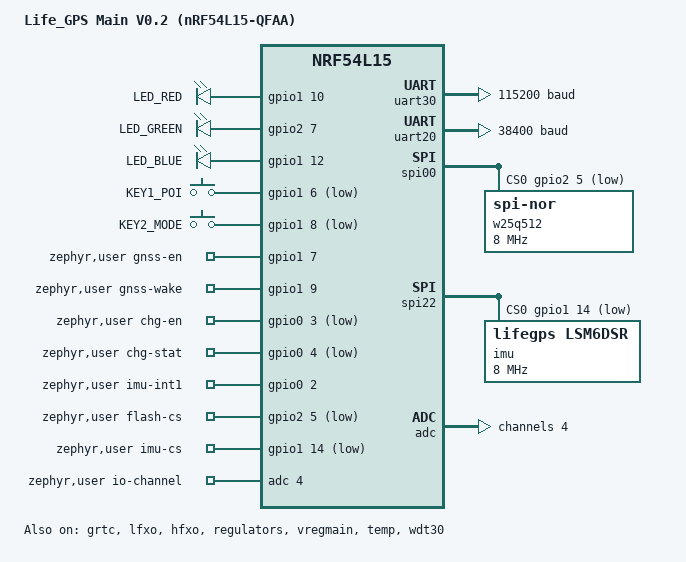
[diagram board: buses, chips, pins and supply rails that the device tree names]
/*
 * Copyright (c) 2026 Life_GPS contributors
 * SPDX-License-Identifier: MIT
 *
 * Life_GPS Main_V0.2 board (nRF54L15-QFAA, QFN48).
 * Pin/level facts: Doc/Hardware/Pinmap_Main_V0.2.md (SSOT) + netlist
 * Hardware/Schematic/Netlist_Main_V0.2_2026-11-11.tel.
 */

/dts-v1/;

#include <arm/nordic/nrf54l15_cpuapp.dtsi>
#include <zephyr/dt-bindings/adc/adc.h>
#include <zephyr/dt-bindings/adc/nrf-saadc.h>
#include <zephyr/dt-bindings/input/input-event-codes.h>

#include "lifegps-pinctrl.dtsi"

/ {
	model = "Life_GPS Main V0.2 (nRF54L15-QFAA)";
	compatible = "lifegps,lifegps-nrf54l15-cpuapp";

	chosen {
		zephyr,console = &uart30;
		zephyr,shell-uart = &uart30;
		zephyr,flash-controller = &rram_controller;
		zephyr,flash = &cpuapp_rram;
		zephyr,sram = &cpuapp_sram;
	};

	leds {
		compatible = "gpio-leds";

		led_red: led_red {
			gpios = <&gpio1 10 GPIO_ACTIVE_HIGH>;
			label = "LED_RED";
		};

		led_green: led_green {
			gpios = <&gpio2 7 GPIO_ACTIVE_HIGH>;
			label = "LED_GREEN";
		};

		led_blue: led_blue {
			gpios = <&gpio1 12 GPIO_ACTIVE_HIGH>;
			label = "LED_BLUE";
		};
	};

	keys: keys {
		compatible = "gpio-keys";
		/*
		 * No debounce property here on purpose: gpio-keys only honours
		 * debounce-interval-ms when CONFIG_INPUT is enabled, and this firmware has no
		 * input subsystem (the keys are polled by src/power/keys.c). A property that
		 * silently does nothing is worse than none - src/power/keys.c debounces in
		 * software for LGPS_KEY_DEBOUNCE_MS.
		 */

		key_poi: key_poi {
			gpios = <&gpio1 6 (GPIO_ACTIVE_LOW | GPIO_PULL_UP)>;
			label = "KEY1_POI";
			zephyr,code = <INPUT_KEY_1>;
		};

		key_mode: key_mode {
			gpios = <&gpio1 8 (GPIO_ACTIVE_LOW | GPIO_PULL_UP)>;
			label = "KEY2_MODE";
			zephyr,code = <INPUT_KEY_2>;
		};
	};

	/*
	 * Application GPIOs that are not part of a Zephyr subsystem class. The
	 * polarity notes follow pinmap section 3:
	 *   GPS_EN     high = GNSS rail on (SGM2045-1.8 enable)
	 *   CHG_EN     low  = charging allowed (SGM4056 EN is active low)
	 *   CHG_STAT   low  = charging in progress (open drain, needs pull-up)
	 */
	zephyr,user {
		gnss-en-gpios = <&gpio1 7 GPIO_ACTIVE_HIGH>;
		gnss-wake-gpios = <&gpio1 9 GPIO_ACTIVE_HIGH>;
		chg-en-gpios = <&gpio0 3 GPIO_ACTIVE_LOW>;
		chg-stat-gpios = <&gpio0 4 (GPIO_ACTIVE_LOW | GPIO_PULL_UP)>;
		/*
		 * Declared for M2 motion wake (pinmap section 2: P0.02 = LSM6_SPI_INT, GPIOTE30).
		 * M1 polls the data-ready bit over SPI and never configures this pad, so it
		 * stays in its reset state (input, disconnected buffer). LSM6DSR INT1 is
		 * push-pull, so an unconfigured pad neither floats nor draws current.
		 */
		imu-int1-gpios = <&gpio0 2 GPIO_ACTIVE_HIGH>;
		/*
		 * The two chip selects are also owned by the SPI controllers; they are
		 * listed here because firmware must drive them high before the SPI
		 * driver initialises (no external pull-up on either memory).
		 */
		flash-cs-gpios = <&gpio2 5 GPIO_ACTIVE_LOW>;
		imu-cs-gpios = <&gpio1 14 GPIO_ACTIVE_LOW>;
		/* P1.11 = AIN4 through the 1 M / 330 k divider (pinmap section 3). */
		io-channels = <&adc 4>;
	};
};

&uicr {
	/* P1.02 / P1.03 carry SPIM22; they leave reset as NFC antenna pads. */
	nfct-pins-as-gpios;
};

/*
 * GRTC is the system timer on nRF54L (CONFIG_NRF_GRTC_TIMER depends on it) and it
 * also supplies CONFIG_SYS_CLOCK_HW_CYCLES_PER_SEC through its clock-frequency
 * property (binding default 1 MHz). Channel map copied from the in-tree
 * nrf54l15dk board: 7..11 are reserved for zero-latency IRQs, 3..4 for the FLPR.
 */
&grtc {
	owned-channels = <0 1 2 3 4 5 6 7 8 9 10 11>;
	child-owned-channels = <3 4 7 8 9 10 11>;
	status = "okay";
};

&lfxo {
	status = "okay";
	load-capacitors = "internal";
	/*
	 * X1 is a 32.768 kHz FC-135R with CL = 12.5 pF. The nRF54L15 internal trim
	 * tops out at 18000 fF (datasheet CL_LFXO range 6..9 pF), so this is the
	 * closest achievable setting - see pinmap pending item "crystal CL".
	 */
	load-capacitance-femtofarad = <18000>;
};

&hfxo {
	status = "okay";
	load-capacitors = "internal";
	/*
	 * X2 is a 32 MHz crystal with CL = 12 pF; the HFXO trim tops out at
	 * 17000 fF. Logged as a known deviation during bring-up.
	 */
	load-capacitance-femtofarad = <17000>;
};

&regulators {
	status = "okay";
};

&vregmain {
	status = "okay";
	/* DCC pin drives L1 = 4.7 uH (pinmap section 2, pin 46): DC/DC must be used. */
	regulator-initial-mode = <NRF5X_REG_MODE_DCDC>;
};

&clock {
	status = "okay";
};

&temp {
	status = "okay";
};

&gpio0 {
	status = "okay";
};

&gpio1 {
	status = "okay";
};

&gpio2 {
	status = "okay";
};

/* P1 keys use the PERI-domain GPIOTE, P0 IMU interrupt uses the LP-domain one. */
&gpiote20 {
	status = "okay";
};

&gpiote30 {
	status = "okay";
};

/* DEBUG_UART: 7-pin H1 header, 115200 8N1 (README section 9.2). */
&uart30 {
	status = "okay";
	current-speed = <115200>;
	pinctrl-0 = <&uart30_default>;
	pinctrl-1 = <&uart30_sleep>;
	pinctrl-names = "default", "sleep";
};

/*
 * GNSS UART to MAX-M10S (U1 pin 2/3 through 100 ohm series resistors).
 * The receiver's factory default is 38400 8N1 (u-blox M10 interface description,
 * configuration item CFG-UART1-BAUDRATE 0x40520001 = 38400), so the MCU has to
 * match that; talking 115200 into a 38400 receiver produced the byte stream with
 * no '$' and no UBX sync seen in the M1 logs.
 */
&uart20 {
	status = "okay";
	current-speed = <38400>;
	pinctrl-0 = <&uart20_default>;
	pinctrl-1 = <&uart20_sleep>;
	pinctrl-names = "default", "sleep";
};

/*
 * External 64 MB QSPI NOR (W25Q512NWEIQ). Size comes from the part number; the
 * JEDEC ID is *not* hard-coded here, the driver reads SFDP at runtime because
 * the datasheet extract in Doc/Hardware/Datasheets does not print the ID bytes.
 */
&spi00 {
	status = "okay";
	cs-gpios = <&gpio2 5 GPIO_ACTIVE_LOW>;
	pinctrl-0 = <&spi00_default>;
	pinctrl-1 = <&spi00_sleep>;
	pinctrl-names = "default", "sleep";

	w25q512: flash@0 {
		compatible = "jedec,spi-nor";
		status = "okay";
		reg = <0>;
		/* Board layout is noise-sensitive: run the NOR at 8 MHz, not 32 MHz. */
		spi-max-frequency = <8000000>;
		/*
		 * "size" is the capacity in BITS, not bytes (dts/bindings/mtd/
		 * jedec,jesd216.yaml: "flash capacity in bits"). W25Q512NW = 512 Mbit =
		 * 64 MiB = 536870912 bits; the earlier 67108864 declared an 8 MiB part.
		 * CONFIG_SPI_NOR_SFDP_RUNTIME=y makes the driver take the real density
		 * from SFDP anyway, so this line is a declaration, not the capacity source.
		 */
		size = <536870912>;
		has-dpd;
		t-enter-dpd = <3000>;  /* tDP   = 3 us  (datasheet AC characteristics) */
		t-exit-dpd = <30000>;  /* tRES1 = 30 us (datasheet AC characteristics) */
	};
};

/* IMU on the PERI-domain SPIM22 (same-domain, no Constant Latency needed). */
&spi22 {
	status = "okay";
	cs-gpios = <&gpio1 14 GPIO_ACTIVE_LOW>;
	pinctrl-0 = <&spi22_default>;
	pinctrl-1 = <&spi22_sleep>;
	pinctrl-names = "default", "sleep";

	imu: imu@0 {
		compatible = "lifegps,lsm6dsr";
		reg = <0>;
		spi-max-frequency = <8000000>;
		/*
		 * No spi-cpol/spi-cpha: SPI_CONFIG_DT takes CPOL/CPHA only from devicetree,
		 * so these two flags *are* the bus mode, and the LSM6DSR datasheet permits
		 * both mode 0 and mode 3 (DS11976 section 5.1: "the device is compatible
		 * with SPI modes 0 and 3"). Mode 0 is what the M1 bench verified:
		 * WHO_AM_I = 0x6B and a streaming sensor hub on every read.
		 */
	};
};

/*
 * BAT_ADC on P1.11 = AIN4. The netlist divider is R25 = 1 M, R26 = 330 k with
 * C14 = 100 nF, but the fitted part measures 0.2861 instead of 0.2481 (that is
 * R25 ~820 k), so the ratio is calibrated in software, not here. SAADC gain 1/2
 * against the internal reference keeps a 4.2 V pack inside range: a 4.2 V pack
 * maps to a 1.202 V tap, and the channel's 1800 mV reported full scale carries
 * its own +4.18 % correction. Both constants live in include/lifegps/battery.h.
 */
&adc {
	status = "okay";
	#address-cells = <1>;
	#size-cells = <0>;

	channel@4 {
		reg = <4>;
		zephyr,gain = "ADC_GAIN_1_2";
		zephyr,reference = "ADC_REF_INTERNAL";
		zephyr,acquisition-time = <ADC_ACQ_TIME(ADC_ACQ_TIME_MICROSECONDS, 40)>;
		zephyr,input-positive = <NRF_SAADC_AIN4>;
		zephyr,resolution = <12>;
		/*
		 * oversampling is log2(samples): <8> meant 256 averages per channel (about
		 * 12 ms per conversion at 40 us acquisition). <2> = 4 averages, which is the
		 * noise/energy compromise for a 1 M/330 k divider with a 100 nF filter cap.
		 */
		zephyr,oversampling = <2>;
	};
};

/* 30 s hardware watchdog clocked from the low-frequency clock (README section 11). */
&wdt30 {
	status = "okay";
};
